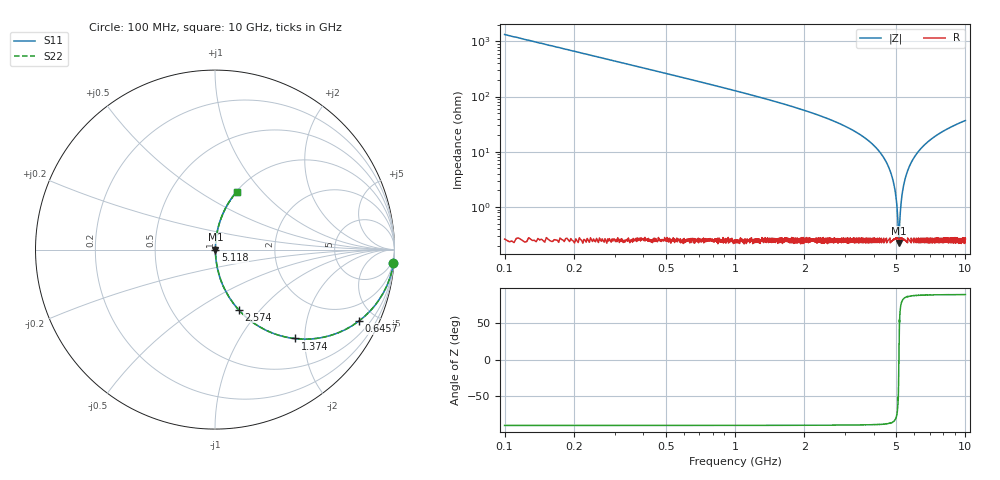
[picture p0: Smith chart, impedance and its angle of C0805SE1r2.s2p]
! AVX Thin Film Operation		Date: April 2012
! Description: Accu-P® Series, Thin Film, SMD, RF Capacitor
! Part Number: 08051J1R2PBTTR
!	100	MHz	-	10.05	GHz
!	Serial	Measurements
#	MHZ	S	MA	R	50
!	S11	S21	S12	S22
!	dB	Phase	dB	Phase	dB	Phase	dB	Phase
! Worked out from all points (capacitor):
!   4010 points, 100 MHz to 10 GHz, reference 50 ohm
!   read as one part in series: C = 1.2 pF near 149.4 MHz
!   lowest |Z| = 225 mohm at 5.143 GHz (marker M1)
!   series resonance near 5.143 GHz, so ESL is about 800 pH
!   S11 on the Smith chart (normalised r, x): 100 MHz: 1, -27; 645.7 MHz: 1.00, -4.04; 1.374 GHz: 1.01, -1.79; 2.574 GHz: 1.01, -0.77; 5.118 GHz: 1.01, -0.00; 10 GHz: 1.01, +0.74
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100  0.997 -4.3  0.075 85.7  0.075 85.7  0.997 -4.3
314.842  0.973 -13.4  0.232 76.6  0.232 76.6  0.973 -13.4
645.747  0.896 -26.3  0.443 63.6  0.443 63.6  0.896 -26.3
1374.233  0.666 -48.0  0.744 41.8  0.744 41.8  0.666 -48.0
1752.058  0.555 -56.1  0.83 33.7  0.83 33.7  0.555 -56.1
2574.383  0.359 -68.6  0.931 21.1  0.931 21.1  0.359 -68.6
3401.646  0.214 -77.0  0.974 12.3  0.974 12.3  0.214 -77.0
4115.316  0.115 -82.2  0.991 6.6  0.991 6.6  0.115 -82.2
4594.388  0.058 -84.2  0.996 3.3  0.996 3.3  0.058 -84.2
4893.19  0.026 -83.0  0.997 1.5  0.997 1.5  0.026 -83.0
4991.968  0.015 -79.9  0.997 0.9  0.997 0.9  0.015 -79.9
5051.235  0.00955 -74.3  0.997 0.5  0.997 0.5  0.00955 -74.3
5117.91  0.00351 -44.6  0.998 0.1  0.998 0.1  0.00351 -44.6
5142.604  0.00249 0.2  0.998 -0.0  0.998 -0.0  0.00249 0.2
5172.237  0.00387 49.7  0.998 -0.2  0.998 -0.2  0.00387 49.7
5243.851  0.01 75.5  0.997 -0.6  0.997 -0.6  0.01 75.5
5317.935  0.017 80.8  0.997 -1.0  0.997 -1.0  0.017 80.8
5559.94  0.04 84.1  0.997 -2.3  0.997 -2.3  0.04 84.1
5992.093  0.079 83.7  0.994 -4.5  0.994 -4.5  0.079 83.7
6700.823  0.137 81.1  0.988 -7.8  0.988 -7.8  0.137 81.1
8350.412  0.251 74.9  0.966 -14.5  0.966 -14.5  0.251 74.9
10000  0.345 69.4  0.936 -20.2  0.936 -20.2  0.345 69.4
